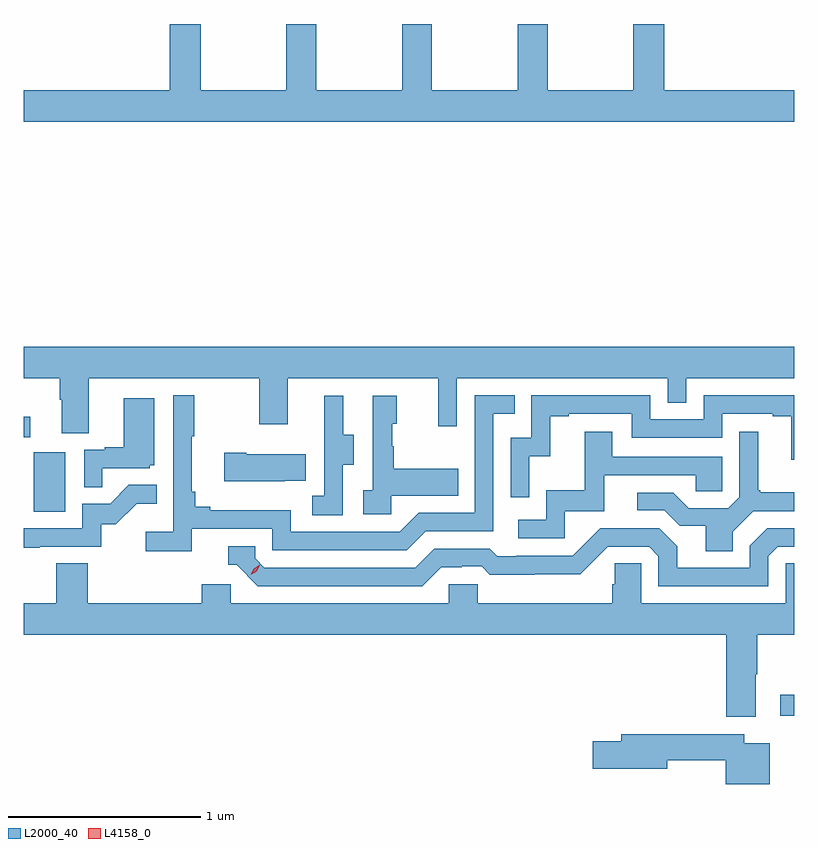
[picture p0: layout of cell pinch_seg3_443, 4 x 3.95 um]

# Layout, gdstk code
import gdstk
lib = gdstk.Library(unit=1e-6, precision=1e-09)
def R(c, l, rs):  # rectangles x0, y0, x1, y1
    for r in rs: c.add(gdstk.rectangle(r[:2], r[2:], *l))
def P(c, l, *ps):  # polygons
    for p in ps: c.add(gdstk.Polygon(p, *l))
L2000_40 = (2000, 40)
L4158_0 = (4158, 0)

pinch_seg3_443 = lib.new_cell('pinch_seg3_443')
R(pinch_seg3_443, L2000_40, [(926.883,671.192,926.955,671.302), (923.006,672.252,923.17,672.559), (922.955,672.639,922.99,672.745)])
P(pinch_seg3_443, L2000_40, [(926.955,674.44),(926.279,674.44),(926.279,674.783),(926.119,674.783),(926.119,674.44),(925.674,674.44),(925.674,674.783),(925.519,674.783),(925.519,674.44),(925.074,674.44),(925.074,674.783),(924.919,674.783),(924.919,674.44),(924.474,674.44),(924.474,674.783),(924.319,674.783),(924.319,674.44),(923.874,674.44),(923.874,674.783),(923.714,674.783),(923.714,674.44),(922.955,674.44),(922.955,674.276),(926.955,674.276)],
  [(923.293,672.944),(924.178,672.944),(924.178,672.705),(924.325,672.705),(924.325,672.944),(925.106,672.944),(925.106,672.696),(925.203,672.696),(925.203,672.944),(926.298,672.944),(926.298,672.817),(926.394,672.817),(926.394,672.944),(926.955,672.944),(926.955,673.108),(922.955,673.108),(922.955,672.944),(923.141,672.944),(923.141,672.832),(923.153,672.832),(923.153,672.658),(923.293,672.658)],
  [(923.828,672.162),(924.246,672.162),(924.246,672.051),(924.943,672.051),(925.042,672.15),(925.392,672.15),(925.392,672.759),(925.505,672.759),(925.505,672.855),(925.296,672.855),(925.296,672.246),(925.005,672.246),(924.906,672.147),(924.342,672.147),(924.342,672.259),(923.923,672.259),(923.923,672.278),(923.846,672.278),(923.846,672.355),(923.827,672.355),(923.827,672.643),(923.839,672.643),(923.839,672.856),(923.73,672.856),(923.73,672.148),(923.589,672.148),(923.589,672.046),(923.828,672.046)],
  [(925.578,672.539),(925.688,672.539),(925.688,672.747),(925.783,672.747),(925.783,672.759),(926.112,672.759),(926.112,672.636),(926.58,672.636),(926.58,672.759),(926.843,672.759),(926.843,672.747),(926.939,672.747),(926.939,672.521),(926.955,672.521),(926.955,672.855),(926.484,672.855),(926.484,672.732),(926.208,672.732),(926.208,672.855),(925.59,672.855),(925.59,672.636),(925.482,672.636),(925.482,672.327),(925.578,672.327)],
  [(924.864,672.335),(925.211,672.335),(925.211,672.475),(924.877,672.475),(924.877,672.59),(924.867,672.59),(924.867,672.708),(924.892,672.708),(924.892,672.853),(924.768,672.853),(924.768,672.362),(924.717,672.362),(924.717,672.237),(924.864,672.237)],
  [(924.612,672.496),(924.667,672.496),(924.667,672.651),(924.613,672.651),(924.613,672.853),(924.515,672.853),(924.515,672.639),(924.516,672.639),(924.516,672.335),(924.453,672.335),(924.453,672.232),(924.612,672.232)],
  [(923.363,672.477),(923.61,672.477),(923.61,672.492),(923.632,672.492),(923.632,672.841),(923.474,672.841),(923.474,672.586),(923.375,672.586),(923.375,672.573),(923.268,672.573),(923.268,672.379),(923.363,672.379)],
  [(925.764,672.255),(925.969,672.255),(925.969,672.441),(926.443,672.441),(926.443,672.357),(926.58,672.357),(926.58,672.537),(926.011,672.537),(926.011,672.667),(925.867,672.667),(925.867,672.364),(925.668,672.364),(925.668,672.21),(925.521,672.21),(925.521,672.114),(925.764,672.114)],
  [(926.635,672.148),(926.742,672.255),(926.955,672.255),(926.955,672.352),(926.779,672.352),(926.779,672.364),(926.767,672.364),(926.767,672.667),(926.67,672.667),(926.67,672.327),(926.613,672.27),(926.407,672.27),(926.326,672.351),(926.139,672.351),(926.139,672.258),(926.28,672.258),(926.36,672.178),(926.495,672.178),(926.495,672.046),(926.635,672.046)],
  [(924.311,672.413),(924.419,672.413),(924.419,672.55),(924.109,672.55),(924.109,672.558),(923.997,672.558),(923.997,672.41),(924.311,672.41)],
  [(923.039,672.069),(923.358,672.069),(923.358,672.186),(923.434,672.186),(923.541,672.293),(923.645,672.293),(923.645,672.392),(923.501,672.392),(923.403,672.294),(923.259,672.294),(923.259,672.165),(922.955,672.165),(922.955,672.064),(923.039,672.064)],
  [(925.123,671.964),(925.23,671.964),(925.23,671.967),(925.333,671.967),(925.375,671.925),(925.608,671.925),(925.608,671.927),(925.844,671.927),(925.986,672.069),(926.202,672.069),(926.25,672.021),(926.25,671.865),(926.82,671.865),(926.82,672.021),(926.868,672.069),(926.955,672.069),(926.955,672.165),(926.814,672.165),(926.724,672.075),(926.724,671.961),(926.347,671.961),(926.347,672.071),(926.253,672.165),(925.947,672.165),(925.806,672.024),(925.513,672.024),(925.513,672.021),(925.414,672.021),(925.375,672.06),(925.086,672.06),(924.987,671.961),(924.204,671.961),(924.156,672.009),(924.156,672.072),(924.017,672.072),(924.017,671.976),(924.06,671.976),(924.171,671.865),(925.024,671.865)],
  [(926.755,671.408),(926.763,671.408),(926.763,671.612),(926.955,671.612),(926.955,671.984),(926.91,671.984),(926.91,671.776),(926.16,671.776),(926.16,671.984),(926.023,671.984),(926.023,671.874),(926.009,671.874),(926.009,671.776),(925.311,671.776),(925.311,671.874),(925.161,671.874),(925.161,671.776),(924.03,671.776),(924.03,671.874),(923.879,671.874),(923.879,671.776),(923.288,671.776),(923.288,671.984),(923.123,671.984),(923.123,671.776),(922.955,671.776),(922.955,671.612),(926.603,671.612),(926.603,671.187),(926.755,671.187)],
  [(926.827,671.05),(926.694,671.05),(926.694,671.096),(926.057,671.096),(926.057,671.06),(925.908,671.06),(925.908,670.918),(926.296,670.918),(926.296,670.96),(926.6,670.96),(926.6,670.838),(926.827,670.838)])
P(pinch_seg3_443, L4158_0, [(924.133,671.923),(924.133,671.923),(924.149,671.956),(924.179,671.976),(924.179,671.976),(924.179,671.975),(924.164,671.943),(924.133,671.923)])

lib.write_gds('pinch_seg3_443.gds')
